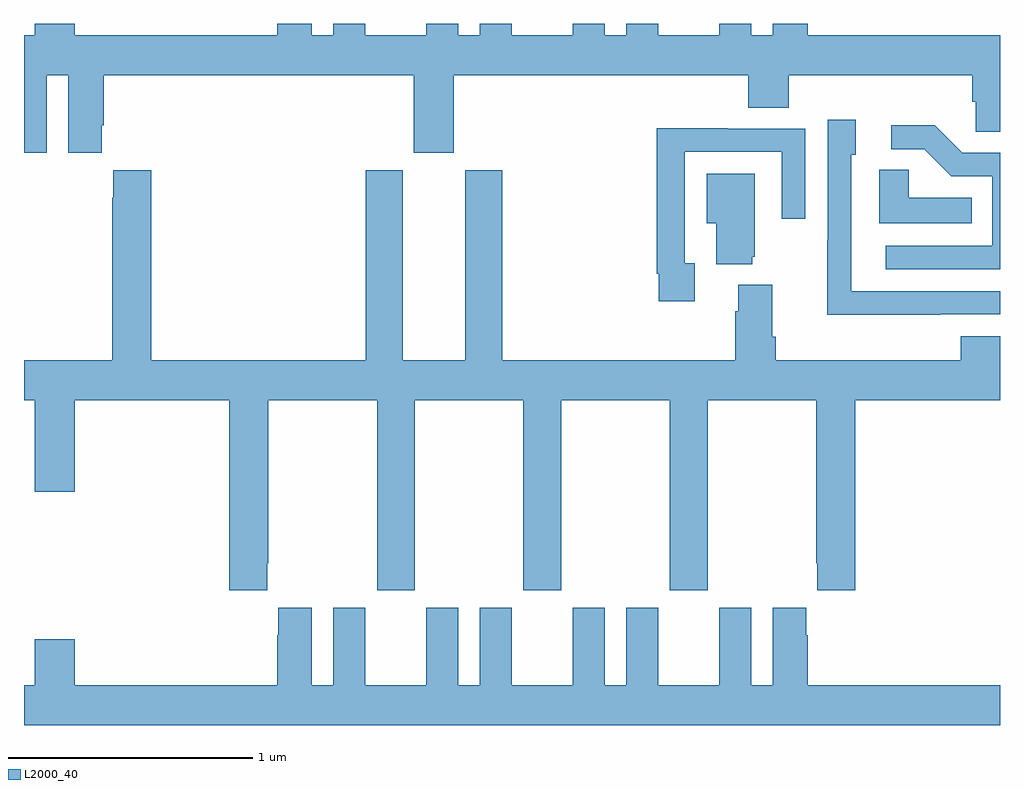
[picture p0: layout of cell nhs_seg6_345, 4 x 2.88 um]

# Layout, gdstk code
import gdstk
lib = gdstk.Library(unit=1e-6, precision=1e-09)
def P(c, l, *ps):  # polygons
    for p in ps: c.add(gdstk.Polygon(p, *l))
L2000_40 = (2000, 40)

nhs_seg6_345 = lib.new_cell('nhs_seg6_345')
P(nhs_seg6_345, L2000_40, [(132.212,995.5),(132.068,995.5),(132.068,995.452),(131.98,995.452),(131.98,995.5),(131.849,995.5),(131.849,995.452),(131.599,995.452),(131.599,995.5),(131.468,995.5),(131.468,995.452),(131.38,995.452),(131.38,995.5),(131.249,995.5),(131.249,995.452),(130.999,995.452),(130.999,995.5),(130.868,995.5),(130.868,995.452),(130.78,995.452),(130.78,995.5),(130.649,995.5),(130.649,995.452),(130.399,995.452),(130.399,995.5),(130.268,995.5),(130.268,995.452),(130.18,995.452),(130.18,995.5),(130.037,995.5),(130.037,995.452),(129.208,995.452),(129.208,995.5),(129.044,995.5),(129.044,995.452),(129,995.452),(129,994.971),(129.094,994.971),(129.094,995.288),(129.182,995.288),(129.182,994.971),(129.319,994.971),(129.319,995.083),(129.326,995.083),(129.326,995.288),(130.598,995.288),(130.598,994.971),(130.762,994.971),(130.762,995.288),(131.969,995.288),(131.969,995.155),(132.134,995.155),(132.134,995.288),(132.887,995.288),(132.887,995.179),(132.9,995.179),(132.9,995.056),(133,995.056),(133,995.452),(132.212,995.452)],
  [(132.755,994.308),(133,994.308),(133,994.404),(132.39,994.404),(132.39,994.962),(132.409,994.962),(132.409,995.107),(132.294,995.107),(132.294,994.613),(132.292,994.613),(132.292,994.307),(132.755,994.307)],
  [(133,994.971),(132.846,994.971),(132.733,995.084),(132.555,995.084),(132.555,994.986),(132.689,994.986),(132.8,994.875),(132.969,994.875),(132.969,994.59),(132.531,994.59),(132.531,994.494),(133,994.494)],
  [(131.749,994.518),(131.709,994.518),(131.709,994.974),(132.105,994.974),(132.105,994.701),(132.201,994.701),(132.201,995.07),(131.885,995.07),(131.885,995.072),(131.593,995.072),(131.593,994.474),(131.601,994.474),(131.601,994.362),(131.749,994.362)],
  [(132.884,994.786),(132.627,994.786),(132.627,994.901),(132.506,994.901),(132.506,994.682),(132.884,994.682)],
  [(129.997,993.289),(130.002,993.289),(130.002,993.956),(130.447,993.956),(130.447,993.177),(130.602,993.177),(130.602,993.956),(131.047,993.956),(131.047,993.177),(131.202,993.177),(131.202,993.956),(131.647,993.956),(131.647,993.177),(131.802,993.177),(131.802,993.956),(132.247,993.956),(132.247,993.289),(132.251,993.289),(132.251,993.177),(132.407,993.177),(132.407,993.956),(133,993.956),(133,994.219),(132.839,994.219),(132.839,994.12),(132.08,994.12),(132.08,994.216),(132.067,994.216),(132.067,994.429),(131.927,994.429),(131.927,994.322),(131.915,994.322),(131.915,994.12),(130.961,994.12),(130.961,994.899),(130.808,994.899),(130.808,994.12),(130.552,994.12),(130.552,994.899),(130.4,994.899),(130.4,994.12),(129.521,994.12),(129.521,994.9),(129.365,994.9),(129.365,994.787),(129.361,994.787),(129.361,994.12),(129,994.12),(129,993.956),(129.044,993.956),(129.044,993.582),(129.208,993.582),(129.208,993.956),(129.842,993.956),(129.842,993.177),(129.997,993.177)],
  [(131.984,994.545),(131.995,994.545),(131.995,994.885),(131.798,994.885),(131.798,994.682),(131.837,994.682),(131.837,994.514),(131.984,994.514)],
  [(133,992.788),(132.212,992.788),(132.212,992.993),(132.205,992.993),(132.205,993.106),(132.068,993.106),(132.068,992.788),(131.98,992.788),(131.98,993.106),(131.849,993.106),(131.849,992.788),(131.599,992.788),(131.599,993.106),(131.468,993.106),(131.468,992.788),(131.38,992.788),(131.38,993.106),(131.249,993.106),(131.249,992.788),(130.999,992.788),(130.999,993.106),(130.868,993.106),(130.868,992.788),(130.78,992.788),(130.78,993.106),(130.649,993.106),(130.649,992.788),(130.399,992.788),(130.399,993.106),(130.268,993.106),(130.268,992.788),(130.18,992.788),(130.18,993.106),(130.043,993.106),(130.043,992.993),(130.037,992.993),(130.037,992.788),(129.208,992.788),(129.208,992.977),(129.044,992.977),(129.044,992.788),(129,992.788),(129,992.624),(133,992.624)])

lib.write_gds('nhs_seg6_345.gds')
